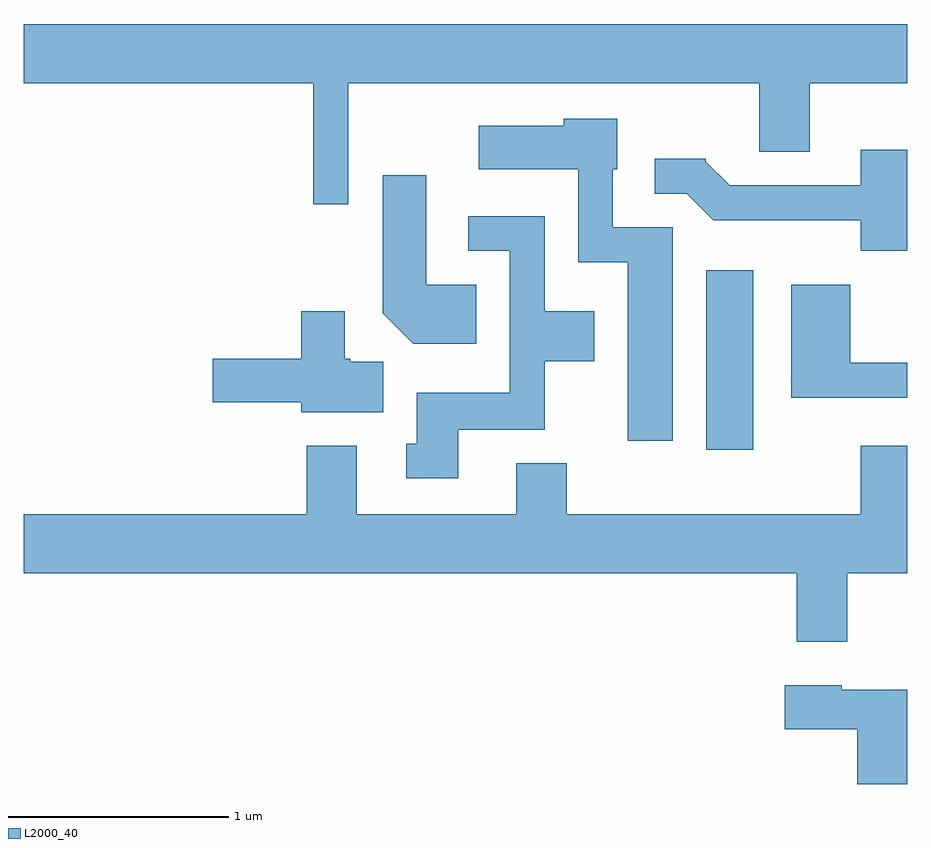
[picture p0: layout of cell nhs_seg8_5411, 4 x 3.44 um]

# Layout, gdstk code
import gdstk
lib = gdstk.Library(unit=1e-6, precision=1e-09)
def R(c, l, rs):  # rectangles x0, y0, x1, y1
    for r in rs: c.add(gdstk.rectangle(r[:2], r[2:], *l))
def P(c, l, *ps):  # polygons
    for p in ps: c.add(gdstk.Polygon(p, *l))
L2000_40 = (2000, 40)

nhs_seg8_5411 = lib.new_cell('nhs_seg8_5411')
R(nhs_seg8_5411, L2000_40, [(350.701,1845.856,350.914,1846.669)])
P(nhs_seg8_5411, L2000_40, [(349.079,1847.516),(350.941,1847.516),(350.941,1847.206),(351.169,1847.206),(351.169,1847.516),(351.611,1847.516),(351.611,1847.784),(347.611,1847.784),(347.611,1847.516),(348.921,1847.516),(348.921,1846.968),(349.079,1846.968)],
  [(350.549,1846.864),(350.279,1846.864),(350.279,1847.126),(350.299,1847.126),(350.299,1847.354),(350.056,1847.354),(350.056,1847.324),(349.671,1847.324),(349.671,1847.126),(350.121,1847.126),(350.121,1846.706),(350.346,1846.706),(350.346,1845.896),(350.549,1845.896)],
  [(351.611,1847.214),(351.401,1847.214),(351.401,1847.054),(350.807,1847.054),(350.7,1847.161),(350.7,1847.174),(350.468,1847.174),(350.468,1847.016),(350.614,1847.016),(350.734,1846.896),(351.401,1846.896),(351.401,1846.756),(351.611,1846.756)],
  [(349.659,1846.604),(349.434,1846.604),(349.434,1847.099),(349.236,1847.099),(349.236,1846.474),(349.374,1846.336),(349.659,1846.336)],
  [(349.579,1845.946),(349.969,1845.946),(349.969,1846.256),(350.194,1846.256),(350.194,1846.484),(349.969,1846.484),(349.969,1846.914),(349.623,1846.914),(349.623,1846.756),(349.811,1846.756),(349.811,1846.114),(349.391,1846.114),(349.391,1845.884),(349.343,1845.884),(349.343,1845.726),(349.579,1845.726)],
  [(351.611,1846.249),(351.354,1846.249),(351.354,1846.604),(351.086,1846.604),(351.086,1846.091),(351.611,1846.091)],
  [(349.239,1846.254),(349.09,1846.254),(349.09,1846.269),(349.064,1846.269),(349.064,1846.484),(348.866,1846.484),(348.866,1846.269),(348.466,1846.269),(348.466,1846.071),(348.866,1846.071),(348.866,1846.026),(349.239,1846.026)],
  [(351.339,1845.296),(351.611,1845.296),(351.611,1845.874),(351.401,1845.874),(351.401,1845.564),(350.069,1845.564),(350.069,1845.794),(349.841,1845.794),(349.841,1845.564),(349.119,1845.564),(349.119,1845.874),(348.891,1845.874),(348.891,1845.564),(347.611,1845.564),(347.611,1845.296),(351.111,1845.296),(351.111,1844.986),(351.339,1844.986)],
  [(351.611,1844.769),(351.314,1844.769),(351.314,1844.789),(351.056,1844.789),(351.056,1844.591),(351.386,1844.591),(351.386,1844.342),(351.611,1844.342)])

lib.write_gds('nhs_seg8_5411.gds')
